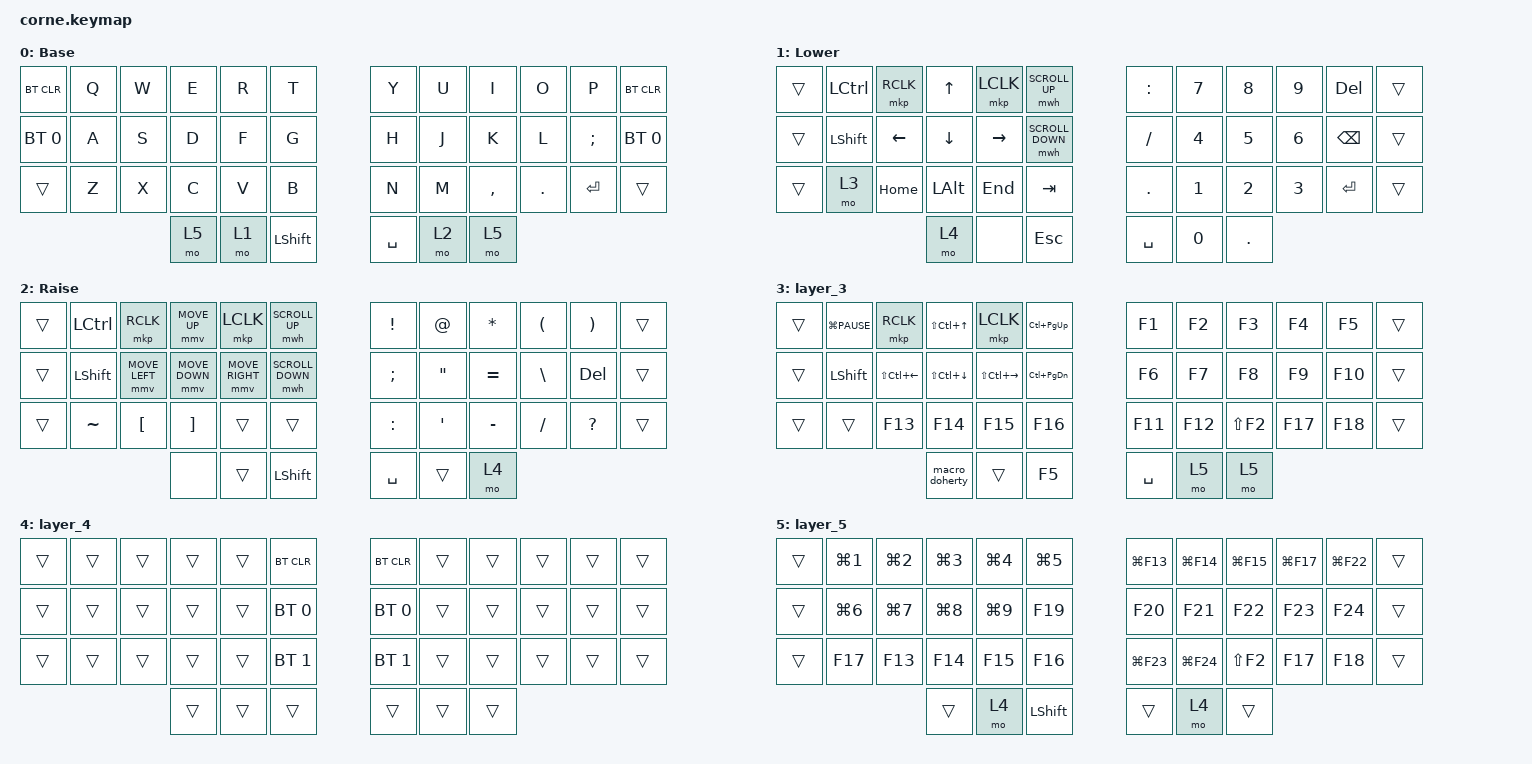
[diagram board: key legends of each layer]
/*
 * Copyright (c) 2020 The ZMK Contributors
 *
 * SPDX-License-Identifier: MIT
 */

#include <dt-bindings/zmk/mouse.h>
#include <behaviors.dtsi>
#include <dt-bindings/zmk/bt.h>
#include <dt-bindings/zmk/keys.h>

/ {
    macros {
        Date: Date {
            compatible = "zmk,behavior-macro";
            label = "DATE";
            #binding-cells = <0>;
            bindings = <&kp SLASH &kp NUMBER_4 &kp SLASH &kp NUMBER_2 &kp NUMBER_0 &kp NUMBER_2 &kp NUMBER_4>;
        };

        BENLLW: BENLLW {
            compatible = "zmk,behavior-macro";
            label = "BENLLW";
            #binding-cells = <0>;
            bindings = <&kp B &kp E &kp N &kp L &kp L &kp W &kp AT &kp G &kp M &kp A &kp I &kp L &kp PERIOD &kp C &kp O &kp M>;
        };

        Joyce18889: Joyce18889 {
            compatible = "zmk,behavior-macro";
            label = "JOYCE18889";
            #binding-cells = <0>;
            bindings = <&kp J &kp O &kp Y &kp C &kp E &kp NUMBER_1 &kp NUMBER_8 &kp NUMBER_8 &kp NUMBER_8 &kp NUMBER_9 &kp AT_SIGN &kp G &kp M &kp A &kp I &kp L &kp PERIOD &kp C &kp O &kp M>;
        };

        macro_doherty: macro_doherty {
            label = "macro_doherty";
            compatible = "zmk,behavior-macro";
            #binding-cells = <0>;
            bindings =
                <&macro_tap>,
                <&kp B &kp E &kp N &kp DOT &kp L &kp E &kp E &kp AT &kp D &kp O &kp H &kp E &kp R &kp T &kp Y &kp DOT &kp C &kp O &kp DOT &kp U &kp K>;
        };

        teresachng: teresachng {
            compatible = "zmk,behavior-macro";
            label = "TERESACHNG";
            #binding-cells = <0>;
            bindings = <&kp T &kp E &kp R &kp E &kp S &kp A &kp M &kp G &kp C &kp H &kp N &kp G &kp AT_SIGN &kp G &kp M &kp A &kp I &kp L &kp PERIOD &kp C &kp O &kp M>;
        };

        ben: ben {
            compatible = "zmk,behavior-macro";
            label = "BEN";
            #binding-cells = <0>;
            bindings = <&kp MINUS &kp LS(B) &kp E &kp N>;
        };

        Mouse1: Mouse1 {
            compatible = "zmk,behavior-macro";
            label = "MOUSE1";
            #binding-cells = <0>;
            bindings = <&kp KP_DOT &kp KP_NUMBER_5>;
        };

        Mouse2: Mouse2 {
            compatible = "zmk,behavior-macro";
            label = "MOUSE2";
            #binding-cells = <0>;
            bindings = <&kp KP_MINUS &kp KP_NUMBER_5 &kp KP_SLASH>;
        };

        atDoherty: atDoherty {
            compatible = "zmk,behavior-macro";
            #binding-cells = <0>;
            bindings = <&kp AT_SIGN &kp D &kp O &kp H &kp E &kp R &kp T &kp Y &kp PERIOD &kp C &kp O &kp PERIOD &kp U &kp K>;
            label = "ATDOHERTY";
        };

        Brackets: Brackets {
            compatible = "zmk,behavior-macro";
            #binding-cells = <0>;
            bindings = <&kp LEFT_PARENTHESIS &kp RIGHT_PARENTHESIS &kp LEFT>;
            label = "BRACKETS";
        };

        ArrowBrackets: ArrowBrackets {
            compatible = "zmk,behavior-macro";
            #binding-cells = <0>;
            bindings = <&kp LESS_THAN &kp GREATER_THAN &kp LEFT>;
            label = "ARROWBRACKETS";
        };

        SquareBrackets: SquareBrackets {
            compatible = "zmk,behavior-macro";
            #binding-cells = <0>;
            bindings = <&kp LEFT_BRACKET &kp RIGHT_BRACKET &kp LEFT>;
            label = "SQUAREBRACKETS";
        };
    };
};

/ {
    combos {
        compatible = "zmk,combos";

        CTRLbackspace {
            bindings = <&kp LC(BACKSPACE)>;
            key-positions = <22 21>;
        };

        Hyphen {
            bindings = <&kp MINUS>;
            key-positions = <33 32>;
        };

        Ben {
            bindings = <&kp LG(F24)>;
            key-positions = <32 33 31>;
        };

        plus {
            bindings = <&kp PLUS>;
            key-positions = <32 31>;
            layers = <1>;
        };

        Times {
            bindings = <&kp ASTERISK>;
            key-positions = <8 7>;
            layers = <1>;
        };

        undo {
            bindings = <&kp LC(Z)>;
            key-positions = <25 1>;
        };

        cut {
            bindings = <&kp LC(X)>;
            key-positions = <26 1>;
        };

        copy {
            bindings = <&kp LC(C)>;
            key-positions = <27 1>;
        };

        paste {
            bindings = <&kp V>;
            key-positions = <1 28>;
        };

        Capslock {
            bindings = <&kp CAPSLOCK>;
            key-positions = <13 15 14 16>;
        };

        Numlock {
            bindings = <&kp KP_NUMLOCK>;
            key-positions = <8 9 7 6>;
        };

        CtrlR {
            bindings = <&kp R>;
            key-positions = <1 4>;
        };

        CtrlT {
            bindings = <&kp LC(T)>;
            key-positions = <1 5>;
        };

        CtrlB {
            bindings = <&kp LC(B)>;
            key-positions = <1 29>;
        };

        LockWinL {
            bindings = <&kp LG(L)>;
            key-positions = <21 10>;
        };

        CtrlA {
            bindings = <&kp LC(A)>;
            key-positions = <1 13>;
        };

        CtrlF {
            bindings = <&kp LC(F)>;
            key-positions = <16 1>;
        };

        Equals {
            bindings = <&kp EQUAL>;
            key-positions = <10 9>;
        };

        F17Date {
            bindings = <&kp F24>;
            key-positions = <>;
            layers = <1>;
        };

        brackets {
            bindings = <&Brackets>;
            key-positions = <>;
            layers = <1>;
        };

        squarebrackets {
            bindings = <&SquareBrackets>;
            key-positions = <>;
            layers = <1>;
        };
    };
};

/ {
    behaviors {
        hm: homerow_mods {
            compatible = "zmk,behavior-hold-tap";
            label = "HOMEROW_MODS";
            #binding-cells = <2>;
            tapping-term-ms = <200>;
            quick-tap-ms = <0>;
            flavor = "tap-preferred";
            bindings = <&kp>, <&kp>;
        };
    };

    keymap {
        compatible = "zmk,keymap";

        default_layer {
            label = "Base";
            bindings = <
&bt BT_CLR       &kp Q  &kp W  &kp E     &kp R  &kp T        &kp Y    &kp U  &kp I      &kp O    &kp P     &bt BT_CLR
&bt BT_SEL 0     &kp A  &kp S  &kp D     &kp F  &kp G        &kp H    &kp J  &kp K      &kp L    &kp SEMI  &bt BT_SEL 0
&trans  &kp Z    &kp X  &kp C  &kp V     &kp B  &kp N        &kp M    &kp COMMA        &kp DOT   &kp RET   &trans
                            &mo 5  &mo 1  &kp LEFT_SHIFT    &kp SPACE  &mo 2  &mo 5
            >;
        };

        lower_layer {
            label = "Lower";
            bindings = <
&trans  &kp LCTRL   &mkp RCLK  &kp UP    &mkp LCLK  &mwh SCROLL_UP      &kp COLON   &kp N7  &kp NUMBER_8  &kp NUMBER_9  &kp DELETE     &trans
&trans  &kp LSHIFT  &kp LEFT   &kp DOWN  &kp RIGHT  &mwh SCROLL_DOWN    &kp SLASH   &kp N4  &kp N5        &kp NUMBER_6  &kp BACKSPACE  &trans
&trans  &mo 3       &kp HOME   &kp LALT  &kp END    &kp TAB             &kp PERIOD  &kp N1  &kp NUMBER_2  &kp N3        &kp RET        &trans
                               &mo 4     &none      &kp ESCAPE          &kp SPACE   &kp N0  &kp PERIOD
            >;
        };

        raise_layer {
            label = "Raise";
            bindings = <
&trans  &kp LCTRL       &mkp RCLK         &mmv MOVE_UP       &mkp LCLK        &mwh SCROLL_UP      &kp EXCL       &kp AT    &kp STAR   &kp LPAR  &kp RPAR      &trans
&trans  &kp LEFT_SHIFT  &mmv MOVE_LEFT    &mmv MOVE_DOWN     &mmv MOVE_RIGHT  &mwh SCROLL_DOWN    &kp SEMICOLON  &kp DQT   &kp EQUAL  &kp BSLH  &kp DEL       &trans
&trans  &kp TILDE       &kp LEFT_BRACKET  &kp RIGHT_BRACKET  &trans           &trans              &kp COLON      &kp APOS  &kp MINUS  &kp FSLH  &kp QUESTION  &trans
                                          &none              &trans           &kp LSHIFT          &kp SPACE      &trans    &mo 4
            >;
        };

        layer_3 {
            bindings = <
&trans  &kp LG(C_PAUSE)  &mkp RCLK         &kp LS(LC(UP_ARROW))  &mkp LCLK          &kp LC(PAGE_UP)      &kp F1     &kp F2   &kp F3      &kp F4   &kp F5   &trans
&trans  &kp LEFT_SHIFT   &kp LS(LC(LEFT))  &kp LS(LC(DOWN))      &kp LS(LC(RIGHT))  &kp LC(PAGE_DOWN)    &kp F6     &kp F7   &kp F8      &kp F9   &kp F10  &trans
&trans  &trans           &kp F13           &kp F14               &kp F15            &kp F16              &kp F11    &kp F12  &kp LS(F2)  &kp F17  &kp F18  &trans
                                           &macro_doherty        &trans             &kp F5               &kp SPACE  &mo 5    &mo 5
            >;
        };

        layer_4 {
            bindings = <
&trans  &trans  &trans  &trans  &trans  &bt BT_CLR      &bt BT_CLR    &trans  &trans  &trans  &trans  &trans
&trans  &trans  &trans  &trans  &trans  &bt BT_SEL 0    &bt BT_SEL 0  &trans  &trans  &trans  &trans  &trans
&trans  &trans  &trans  &trans  &trans  &bt BT_SEL 1    &bt BT_SEL 1  &trans  &trans  &trans  &trans  &trans
                        &trans  &trans  &trans          &trans        &trans  &trans
            >;
        };

        layer_5 {
            bindings = <
&trans  &kp LG(NUMBER_1)  &kp LG(NUMBER_2)  &kp LG(NUMBER_3)  &kp LG(NUMBER_4)  &kp LG(N5)        &kp LG(F13)  &kp LG(F14)  &kp LG(F15)  &kp LG(F17)  &kp LG(F22)  &trans
&trans  &kp LG(NUMBER_6)  &kp LG(N7)        &kp LG(N8)        &kp LG(N9)        &kp F19           &kp F20      &kp F21      &kp F22      &kp F23      &kp F24      &trans
&trans  &kp F17           &kp F13           &kp F14           &kp F15           &kp F16           &kp LG(F23)  &kp LG(F24)  &kp LS(F2)   &kp F17      &kp F18      &trans
                                            &trans            &mo 4             &kp LEFT_SHIFT    &trans       &mo 4        &trans
            >;
        };
    };
};
